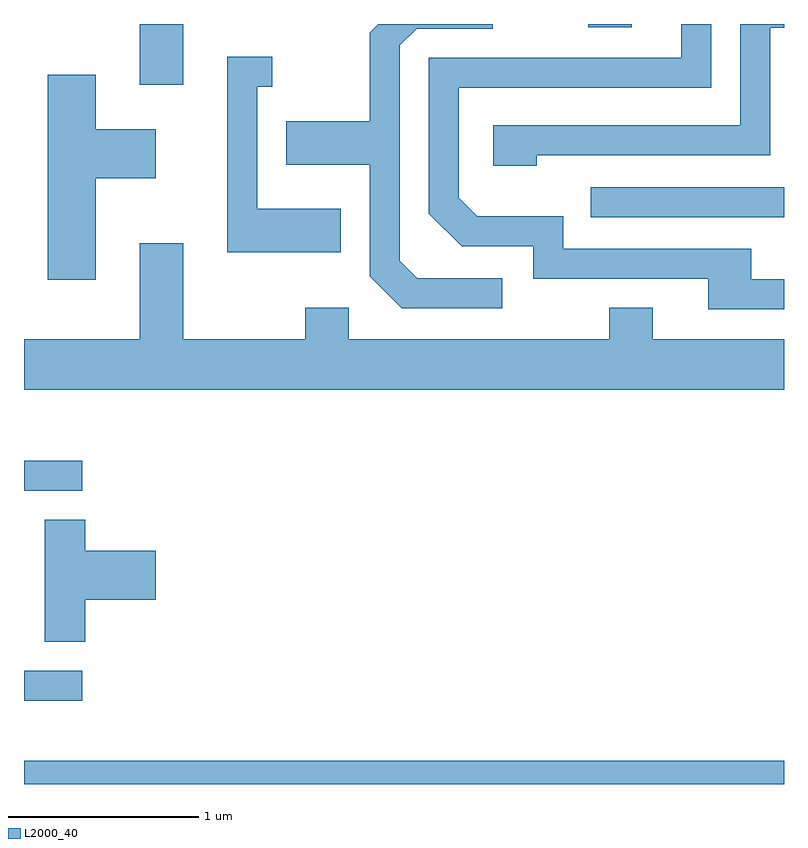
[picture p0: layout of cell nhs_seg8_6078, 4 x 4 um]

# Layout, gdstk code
import gdstk
lib = gdstk.Library(unit=1e-6, precision=1e-09)
def R(c, l, rs):  # rectangles x0, y0, x1, y1
    for r in rs: c.add(gdstk.rectangle(r[:2], r[2:], *l))
def P(c, l, *ps):  # polygons
    for p in ps: c.add(gdstk.Polygon(p, *l))
L2000_40 = (2000, 40)

nhs_seg8_6078 = lib.new_cell('nhs_seg8_6078')
R(nhs_seg8_6078, L2000_40, [(367.611,1834.342,371.611,1834.464), (367.611,1834.781,367.918,1834.939), (367.611,1835.886,367.918,1836.044), (370.593,1837.326,371.611,1837.484), (368.221,1838.021,368.449,1838.342), (370.581,1838.326,370.809,1838.342)])
P(nhs_seg8_6078, L2000_40, [(370.128,1837.004),(369.682,1837.004),(369.589,1837.097),(369.589,1838.229),(369.677,1838.316),(370.078,1838.316),(370.078,1838.342),(369.476,1838.342),(369.431,1838.297),(369.431,1837.829),(368.991,1837.829),(368.991,1837.601),(369.431,1837.601),(369.431,1837.014),(369.599,1836.846),(370.128,1836.846)],
  [(370.309,1837.651),(371.539,1837.651),(371.539,1838.321),(371.611,1838.321),(371.611,1838.342),(371.381,1838.342),(371.381,1837.809),(370.081,1837.809),(370.081,1837.596),(370.309,1837.596)],
  [(371.611,1836.999),(371.439,1836.999),(371.439,1837.159),(370.449,1837.159),(370.449,1837.329),(369.997,1837.329),(369.899,1837.427),(369.899,1838.006),(371.229,1838.006),(371.229,1838.342),(371.071,1838.342),(371.071,1838.164),(369.741,1838.164),(369.741,1837.344),(369.914,1837.171),(370.291,1837.171),(370.291,1837.001),(371.211,1837.001),(371.211,1836.841),(371.611,1836.841)],
  [(369.279,1837.369),(368.839,1837.369),(368.839,1838.011),(368.918,1838.011),(368.918,1838.169),(368.681,1838.169),(368.681,1837.141),(369.279,1837.141)],
  [(367.989,1837.531),(368.304,1837.531),(368.304,1837.789),(367.989,1837.789),(367.989,1838.074),(367.736,1838.074),(367.736,1836.996),(367.989,1836.996)],
  [(371.611,1836.684),(370.919,1836.684),(370.919,1836.849),(370.691,1836.849),(370.691,1836.684),(369.319,1836.684),(369.319,1836.849),(369.091,1836.849),(369.091,1836.684),(368.449,1836.684),(368.449,1837.189),(368.221,1837.189),(368.221,1836.684),(367.611,1836.684),(367.611,1836.416),(371.611,1836.416)],
  [(367.934,1835.311),(368.304,1835.311),(368.304,1835.569),(367.934,1835.569),(367.934,1835.734),(367.721,1835.734),(367.721,1835.091),(367.934,1835.091)])

lib.write_gds('nhs_seg8_6078.gds')
